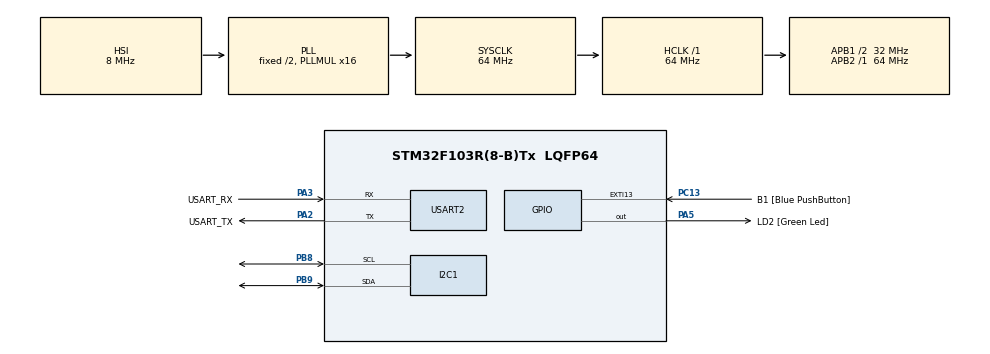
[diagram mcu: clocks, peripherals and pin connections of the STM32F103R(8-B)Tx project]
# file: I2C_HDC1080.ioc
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I2C1.I2C_Mode=I2C_Fast
Mcu.Family=STM32F1
Mcu.Name=STM32F103R(8-B)Tx
Mcu.Package=LQFP64
NVIC.EXTI15_10_IRQn=true\:0\:0\:false\:false\:true\:true\:true\:true
NVIC.PriorityGroup=NVIC_PRIORITYGROUP_4
PA13.GPIO_Label=TMS
PA13.Mode=Serial_Wire
PA13.Signal=SYS_JTMS-SWDIO
PA14.GPIO_Label=TCK
PA14.Mode=Serial_Wire
PA14.Signal=SYS_JTCK-SWCLK
PA2.GPIO_Label=USART_TX
PA2.GPIO_Mode=GPIO_MODE_AF_PP
PA2.GPIO_PuPd=GPIO_NOPULL
PA2.GPIO_Speed=GPIO_SPEED_FREQ_LOW
PA2.Mode=Asynchronous
PA2.Signal=USART2_TX
PA3.GPIO_Label=USART_RX
PA3.GPIO_Mode=GPIO_MODE_AF_PP
PA3.GPIO_PuPd=GPIO_NOPULL
PA3.GPIO_Speed=GPIO_SPEED_FREQ_LOW
PA3.Mode=Asynchronous
PA3.Signal=USART2_RX
PA5.GPIO_Label=LD2 [Green Led]
PA5.GPIO_ModeDefaultOutputPP=GPIO_MODE_OUTPUT_PP
PA5.GPIO_PuPd=GPIO_NOPULL
PA5.GPIO_Speed=GPIO_SPEED_FREQ_LOW
PA5.Signal=GPIO_Output
PB3.GPIO_Label=SWO
PB3.Signal=SYS_JTDO-TRACESWO
PB8.Mode=I2C
PB8.Signal=I2C1_SCL
PB9.Mode=I2C
PB9.Signal=I2C1_SDA
PC13-TAMPER-RTC.GPIO_Label=B1 [Blue PushButton]
PC13-TAMPER-RTC.GPIO_PuPd=GPIO_NOPULL
PC13-TAMPER-RTC.Signal=GPXTI13
PC14-OSC32_IN.Mode=LSE-External-Oscillator
PC14-OSC32_IN.Signal=RCC_OSC32_IN
PC15-OSC32_OUT.Mode=LSE-External-Oscillator
PC15-OSC32_OUT.Signal=RCC_OSC32_OUT
PD0-OSC_IN.Mode=HSE-External-Clock-Source
PD0-OSC_IN.Signal=RCC_OSC_IN
PD1-OSC_OUT.Mode=HSE-External-Clock-Source
PD1-OSC_OUT.Signal=RCC_OSC_OUT
ProjectManager.HeapSize=0x200
ProjectManager.StackSize=0x400
ProjectManager.TargetToolchain=STM32CubeIDE
RCC.AHBFreq_Value=64000000
RCC.APB1CLKDivider=RCC_HCLK_DIV2
RCC.APB1Freq_Value=32000000
RCC.APB1TimFreq_Value=64000000
RCC.APB2Freq_Value=64000000
RCC.APB2TimFreq_Value=64000000
RCC.HCLKFreq_Value=64000000
RCC.PLLMUL=RCC_PLL_MUL16
RCC.RTCClockSelection=RCC_RTCCLKSOURCE_LSE
RCC.SYSCLKFreq_VALUE=64000000
RCC.SYSCLKSource=RCC_SYSCLKSOURCE_PLLCLK
RCC.USBFreq_Value=64000000
USART2.VirtualMode=VM_ASYNC
board=NUCLEO-F103RB

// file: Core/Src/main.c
/* USER CODE BEGIN Header */
/**
  ******************************************************************************
  * @file           : main.c
  * @brief          : Main program body
  ******************************************************************************
  * @attention
  *
  * Copyright (c) 2024 STMicroelectronics.
  * All rights reserved.
  *
  * This software is licensed under terms that can be found in the LICENSE file
  * in the root directory of this software component.
  * If no LICENSE file comes with this software, it is provided AS-IS.
  *
  ******************************************************************************
  */
/* USER CODE END Header */
#include "main.h"

/* USER CODE BEGIN Includes */

#include <stdio.h>
/* #include "hdc1080.h" */

/* USER CODE END Includes */

/* USER CODE BEGIN PD */

#define HDC1080_ADDR 		    0x40

/* Register addresses */
#define HDC1080_TEMPERATURE		0x00
#define HDC1080_HUMIDITY 	    0x01
#define HDC1080_CONFIG		  	0x02
#define HDC1080_SERIAL_ID1		0xFB
#define HDC1080_SERIAL_ID2		0xFC
#define HDC1080_SERIAL_ID3		0xFD
#define HDC1080_ID_MANU		  	0xFE
#define HDC1080_ID_DEV		  	0xFF

#define HDC1080_RH_RES_14	  	0x00
#define HDC1080_RH_RES_11	  	0x01
#define HDC1080_RH_RES8		  	0x02

#define HDC1080_T_RES_14	  	0x00
#define HDC1080_T_RES_11	  	0x01

/* USER CODE END PD */

I2C_HandleTypeDef hi2c1;

UART_HandleTypeDef huart2;

/* USER CODE BEGIN PV */

float	gTemp = 0.0f;
uint8_t	gHumi = 0;

uint8_t	gI2cBuffer[4] = { 0, 0, 0, 0 };

/* USER CODE END PV */

void SystemClock_Config(void);
static void MX_GPIO_Init(void);
static void MX_USART2_UART_Init(void);
static void MX_I2C1_Init(void);
/* USER CODE BEGIN PFP */

int __io_putchar(int ch)
{
	if(ch == '\n') HAL_UART_Transmit(&huart2, (uint8_t*)"\r", 1, 0xFFFF);
	HAL_UART_Transmit(&huart2, (uint8_t*)&ch, 1, 0xFFFF);
	return ch;
}

/* USER CODE END PFP */

int main(void)
{

  /* MCU Configuration--------------------------------------------------------*/

  /* Reset of all peripherals, Initializes the Flash interface and the Systick. */
  HAL_Init();

  /* Configure the system clock */
  SystemClock_Config();

  /* Initialize all configured peripherals */
  MX_GPIO_Init();
  MX_USART2_UART_Init();
  MX_I2C1_Init();
  /* USER CODE BEGIN 2 */

  /* HDC1080 INITIALIZE BEGIN */

  uint16_t temp_x, humi_x;
  uint16_t r = 0;

  gI2cBuffer[0] = HDC1080_CONFIG;

  if(HAL_OK != HAL_I2C_Master_Transmit(&hi2c1, HDC1080_ADDR << 1, gI2cBuffer, 1, 100)) {
	  Error_Handler();
  }

  HAL_Delay (1);

  /* Receive a 2-byte result */
  if(HAL_OK != HAL_I2C_Master_Receive (&hi2c1, HDC1080_ADDR << 1 | 0x01, gI2cBuffer, 2, 1000)) {
	  Error_Handler();
  }

  // Set the acquisition mode to measure both temperature and humidity by setting Bit[12] to 1
  r = 0x1000;
  r |= HDC1080_T_RES_14 << 10;
  r |= HDC1080_RH_RES_14 << 8;
  r |= 1 << 12;                 // mode = 1;
  r |= 1 << 13;					// heater = 1

  if((r >> 11) & 0x0001)
	  printf("Supply voltage Vcc < 2.8V\n\n");
  else
	  printf("Supply voltage Vcc > 2.8V\n\n");

  gI2cBuffer[0] = HDC1080_CONFIG;
  gI2cBuffer[1] = (uint8_t) ((r >> 8) & 0xff); // msb
  gI2cBuffer[2] = (uint8_t) (r & 0xff);        // lsb

  /* Write the register */
  /* Send the command and data */
  if(HAL_OK != HAL_I2C_Master_Transmit (&hi2c1, HDC1080_ADDR << 1, gI2cBuffer, 3, 100)) {
	  Error_Handler();
  }

  /* HDC1080 INITIALIZE END */

  /* USER CODE END 2 */

  /* Infinite loop */
  /* USER CODE BEGIN WHILE */
  while (1)
  {
	  if(!HAL_GPIO_ReadPin(B1_GPIO_Port, B1_Pin)) {
		  gI2cBuffer[0] = HDC1080_TEMPERATURE;
		  if(HAL_OK != HAL_I2C_Master_Transmit(&hi2c1, HDC1080_ADDR << 1, gI2cBuffer, 1, 1000)) {
			  Error_Handler();
		  }

		  /* Delay here 15ms for conversion complete.
		   * Note: datasheet say maximum is 7ms, but when delay=7ms, the read value is not correct
		   */
		  HAL_Delay (15);

		  if(HAL_OK != HAL_I2C_Master_Receive(&hi2c1, HDC1080_ADDR << 1, gI2cBuffer, 4, 1000)) {
			  Error_Handler();
		  }

		  temp_x = ((gI2cBuffer[0] << 8) | gI2cBuffer[1]);
		  humi_x = ((gI2cBuffer[2] << 8) | gI2cBuffer[3]);

		  gTemp = (float) ((temp_x / 65536.0) * 165.0) - 40.0;
		  gHumi = (uint8_t) ((humi_x / 65536.0) * 100.0);

		  printf("TEMP=%2.2f HUMI=%d\n", gTemp, gHumi);

		  HAL_GPIO_TogglePin(LD2_GPIO_Port, LD2_Pin);
		  HAL_Delay(1000);
	  }

    /* USER CODE END WHILE */

  }
}

void SystemClock_Config(void)
{
  RCC_OscInitTypeDef RCC_OscInitStruct = {0};
  RCC_ClkInitTypeDef RCC_ClkInitStruct = {0};

  /** Initializes the RCC Oscillators according to the specified parameters
  * in the RCC_OscInitTypeDef structure.
  */
  RCC_OscInitStruct.OscillatorType = RCC_OSCILLATORTYPE_HSI;
  RCC_OscInitStruct.HSIState = RCC_HSI_ON;
  RCC_OscInitStruct.HSICalibrationValue = RCC_HSICALIBRATION_DEFAULT;
  RCC_OscInitStruct.PLL.PLLState = RCC_PLL_ON;
  RCC_OscInitStruct.PLL.PLLSource = RCC_PLLSOURCE_HSI_DIV2;
  RCC_OscInitStruct.PLL.PLLMUL = RCC_PLL_MUL16;
  if (HAL_RCC_OscConfig(&RCC_OscInitStruct) != HAL_OK)
  {
    Error_Handler();
  }

  /** Initializes the CPU, AHB and APB buses clocks
  */
  RCC_ClkInitStruct.ClockType = RCC_CLOCKTYPE_HCLK|RCC_CLOCKTYPE_SYSCLK
                              |RCC_CLOCKTYPE_PCLK1|RCC_CLOCKTYPE_PCLK2;
  RCC_ClkInitStruct.SYSCLKSource = RCC_SYSCLKSOURCE_PLLCLK;
  RCC_ClkInitStruct.AHBCLKDivider = RCC_SYSCLK_DIV1;
  RCC_ClkInitStruct.APB1CLKDivider = RCC_HCLK_DIV2;
  RCC_ClkInitStruct.APB2CLKDivider = RCC_HCLK_DIV1;

  if (HAL_RCC_ClockConfig(&RCC_ClkInitStruct, FLASH_LATENCY_2) != HAL_OK)
  {
    Error_Handler();
  }
}

static void MX_I2C1_Init(void)
{

  hi2c1.Instance = I2C1;
  hi2c1.Init.ClockSpeed = 400000;
  hi2c1.Init.DutyCycle = I2C_DUTYCYCLE_2;
  hi2c1.Init.OwnAddress1 = 0;
  hi2c1.Init.AddressingMode = I2C_ADDRESSINGMODE_7BIT;
  hi2c1.Init.DualAddressMode = I2C_DUALADDRESS_DISABLE;
  hi2c1.Init.OwnAddress2 = 0;
  hi2c1.Init.GeneralCallMode = I2C_GENERALCALL_DISABLE;
  hi2c1.Init.NoStretchMode = I2C_NOSTRETCH_DISABLE;
  if (HAL_I2C_Init(&hi2c1) != HAL_OK)
  {
    Error_Handler();
  }

}

static void MX_USART2_UART_Init(void)
{

  huart2.Instance = USART2;
  huart2.Init.BaudRate = 115200;
  huart2.Init.WordLength = UART_WORDLENGTH_8B;
  huart2.Init.StopBits = UART_STOPBITS_1;
  huart2.Init.Parity = UART_PARITY_NONE;
  huart2.Init.Mode = UART_MODE_TX_RX;
  huart2.Init.HwFlowCtl = UART_HWCONTROL_NONE;
  huart2.Init.OverSampling = UART_OVERSAMPLING_16;
  if (HAL_UART_Init(&huart2) != HAL_OK)
  {
    Error_Handler();
  }

}

static void MX_GPIO_Init(void)
{
  GPIO_InitTypeDef GPIO_InitStruct = {0};

  /* GPIO Ports Clock Enable */
  __HAL_RCC_GPIOC_CLK_ENABLE();
  __HAL_RCC_GPIOD_CLK_ENABLE();
  __HAL_RCC_GPIOA_CLK_ENABLE();
  __HAL_RCC_GPIOB_CLK_ENABLE();

  /*Configure GPIO pin Output Level */
  HAL_GPIO_WritePin(LD2_GPIO_Port, LD2_Pin, GPIO_PIN_RESET);

  /*Configure GPIO pin : B1_Pin */
  GPIO_InitStruct.Pin = B1_Pin;
  GPIO_InitStruct.Mode = GPIO_MODE_IT_RISING;
  GPIO_InitStruct.Pull = GPIO_NOPULL;
  HAL_GPIO_Init(B1_GPIO_Port, &GPIO_InitStruct);

  /*Configure GPIO pin : LD2_Pin */
  GPIO_InitStruct.Pin = LD2_Pin;
  GPIO_InitStruct.Mode = GPIO_MODE_OUTPUT_PP;
  GPIO_InitStruct.Pull = GPIO_NOPULL;
  GPIO_InitStruct.Speed = GPIO_SPEED_FREQ_LOW;
  HAL_GPIO_Init(LD2_GPIO_Port, &GPIO_InitStruct);

  /* EXTI interrupt init*/
  HAL_NVIC_SetPriority(EXTI15_10_IRQn, 0, 0);
  HAL_NVIC_EnableIRQ(EXTI15_10_IRQn);

}

void Error_Handler(void)
{
  __disable_irq();
  while (1)
  {
  }
}
